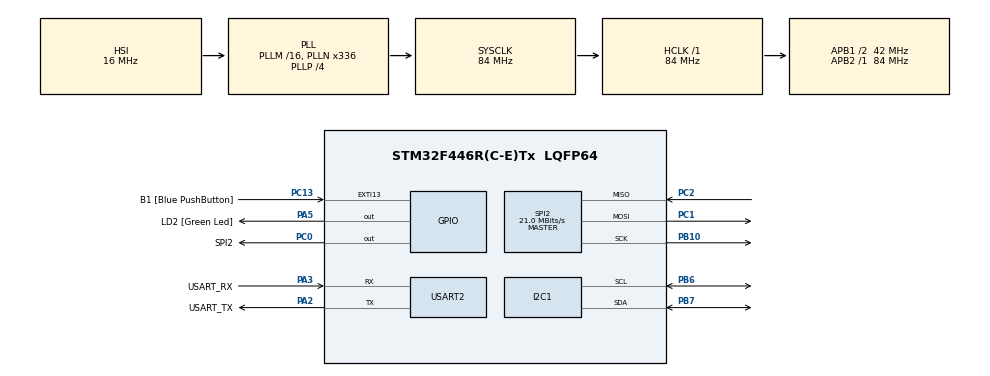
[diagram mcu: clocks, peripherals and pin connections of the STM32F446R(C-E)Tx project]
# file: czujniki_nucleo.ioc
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Mcu.Family=STM32F4
Mcu.Name=STM32F446R(C-E)Tx
Mcu.Package=LQFP64
NVIC.PriorityGroup=NVIC_PRIORITYGROUP_0
PA13.GPIO_Label=TMS
PA13.Mode=Serial_Wire
PA13.Signal=SYS_JTMS-SWDIO
PA14.GPIO_Label=TCK
PA14.Mode=Serial_Wire
PA14.Signal=SYS_JTCK-SWCLK
PA2.GPIO_Label=USART_TX
PA2.Mode=Asynchronous
PA2.Signal=USART2_TX
PA3.GPIO_Label=USART_RX
PA3.Mode=Asynchronous
PA3.Signal=USART2_RX
PA5.GPIO_Label=LD2 [Green Led]
PA5.Signal=GPIO_Output
PB10.Mode=Full_Duplex_Master
PB10.Signal=SPI2_SCK
PB3.GPIO_Label=SWO
PB3.Signal=SYS_JTDO-SWO
PB6.Mode=I2C
PB6.Signal=I2C1_SCL
PB7.Mode=I2C
PB7.Signal=I2C1_SDA
PC0.GPIO_Label=SPI2
PC0.Signal=GPIO_Output
PC1.Mode=Full_Duplex_Master
PC1.Signal=SPI2_MOSI
PC13.GPIO_Label=B1 [Blue PushButton]
PC13.GPIO_ModeDefaultEXTI=GPIO_MODE_IT_FALLING
PC13.Signal=GPXTI13
PC14-OSC32_IN.Mode=LSE-External-Oscillator
PC14-OSC32_IN.Signal=RCC_OSC32_IN
PC15-OSC32_OUT.Mode=LSE-External-Oscillator
PC15-OSC32_OUT.Signal=RCC_OSC32_OUT
PC2.Mode=Full_Duplex_Master
PC2.Signal=SPI2_MISO
PH0-OSC_IN.Mode=HSE-External-Oscillator
PH0-OSC_IN.Signal=RCC_OSC_IN
PH1-OSC_OUT.Mode=HSE-External-Oscillator
PH1-OSC_OUT.Signal=RCC_OSC_OUT
ProjectManager.HeapSize=0x200
ProjectManager.StackSize=0x400
ProjectManager.TargetToolchain=SW4STM32
RCC.48MHZClocksFreq_Value=84000000
RCC.AHBFreq_Value=84000000
RCC.APB1CLKDivider=RCC_HCLK_DIV2
RCC.APB1Freq_Value=42000000
RCC.APB1TimFreq_Value=84000000
RCC.APB2Freq_Value=84000000
RCC.APB2TimFreq_Value=84000000
RCC.CortexFreq_Value=84000000
RCC.FLatency-AdvancedSettings=FLASH_LATENCY_2
RCC.HCLKFreq_Value=84000000
RCC.HSE_VALUE=8000000
RCC.HSI_VALUE=16000000
RCC.PLLN=336
RCC.PLLP=RCC_PLLP_DIV4
RCC.SYSCLKFreq_VALUE=84000000
RCC.SYSCLKSource=RCC_SYSCLKSOURCE_PLLCLK
RCC.USBFreq_Value=168000000
RCC.VCOOutputFreq_Value=336000000
SPI2.CalculateBaudRate=21.0 MBits/s
SPI2.Direction=SPI_DIRECTION_2LINES
SPI2.Mode=SPI_MODE_MASTER
SPI2.VirtualType=VM_MASTER
USART2.VirtualMode=VM_ASYNC
board=NUCLEO-F446RE

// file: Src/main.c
/* USER CODE BEGIN Header */
/**
  ******************************************************************************
  * @file           : main.c
  * @brief          : Main program body
  ******************************************************************************
  ** This notice applies to any and all portions of this file
  * that are not between comment pairs USER CODE BEGIN and
  * USER CODE END. Other portions of this file, whether
  * inserted by the user or by software development tools
  * are owned by their respective copyright owners.
  *
  * COPYRIGHT(c) 2021 STMicroelectronics
  *
  * Redistribution and use in source and binary forms, with or without modification,
  * are permitted provided that the following conditions are met:
  *   1. Redistributions of source code must retain the above copyright notice,
  *      this list of conditions and the following disclaimer.
  *   2. Redistributions in binary form must reproduce the above copyright notice,
  *      this list of conditions and the following disclaimer in the documentation
  *      and/or other materials provided with the distribution.
  *   3. Neither the name of STMicroelectronics nor the names of its contributors
  *      may be used to endorse or promote products derived from this software
  *      without specific prior written permission.
  *
  * THIS SOFTWARE IS PROVIDED BY THE COPYRIGHT HOLDERS AND CONTRIBUTORS "AS IS"
  * AND ANY EXPRESS OR IMPLIED WARRANTIES, INCLUDING, BUT NOT LIMITED TO, THE
  * IMPLIED WARRANTIES OF MERCHANTABILITY AND FITNESS FOR A PARTICULAR PURPOSE ARE
  * DISCLAIMED. IN NO EVENT SHALL THE COPYRIGHT HOLDER OR CONTRIBUTORS BE LIABLE
  * FOR ANY DIRECT, INDIRECT, INCIDENTAL, SPECIAL, EXEMPLARY, OR CONSEQUENTIAL
  * DAMAGES (INCLUDING, BUT NOT LIMITED TO, PROCUREMENT OF SUBSTITUTE GOODS OR
  * SERVICES; LOSS OF USE, DATA, OR PROFITS; OR BUSINESS INTERRUPTION) HOWEVER
  * CAUSED AND ON ANY THEORY OF LIABILITY, WHETHER IN CONTRACT, STRICT LIABILITY,
  * OR TORT (INCLUDING NEGLIGENCE OR OTHERWISE) ARISING IN ANY WAY OUT OF THE USE
  * OF THIS SOFTWARE, EVEN IF ADVISED OF THE POSSIBILITY OF SUCH DAMAGE.
  *
  ******************************************************************************
  */
/* USER CODE END Header */

#include "main.h"

/* USER CODE BEGIN Includes */
#include "bme280.h"
#include "bmp388.h"
#include <math.h>
#include <stdio.h>
#include <stdlib.h>
#include <string.h>
/* USER CODE END Includes */

I2C_HandleTypeDef hi2c1;

SPI_HandleTypeDef hspi2;

UART_HandleTypeDef huart2;

void SystemClock_Config(void);
static void MX_GPIO_Init(void);
static void MX_USART2_UART_Init(void);
static void MX_I2C1_Init(void);
static void MX_SPI2_Init(void);

/* USER CODE BEGIN 0 */
#define BMP388_ADDRESS 0xEC
#define BMP388_CHIP_ID 0x00
#define BMP388_STATUS 0x03
#define BMP388_PRESS_XLSB 0x04
#define BMP388_PRESS_LSB 0x05
#define BMP388_PRESS_MSB 0x06
#define BMP388_TEMP_XLSB 0x07
#define BMP388_TEMP_LSB 0x08
#define BMP388_TEMP_MSB 0x09
#define BMP388_PWR_CTRL 0x1B
#define BMP388_OSR 0x1C

float temperatura;
int temperatura_setki;
float wilgotnosc;
int wilgotnosc_setki;
float cisnienie;
int cisnienie_tysiace;
int cisnienie_dziesiatki;
int cisnienie_przecinek;
float reszta;
float roznica;
float roznica_setki;
float bezposrednio;

void user_delay_ms(uint32_t period_ms);
int8_t user_i2c_write(uint8_t i2c_addr, uint8_t reg_addr, uint8_t *reg_data, uint16_t length);
int8_t user_i2c_read(uint8_t i2c_addr, uint8_t reg_addr, uint8_t *reg_data, uint16_t length);

int8_t user_i2c_read(uint8_t id, uint8_t reg_addr, uint8_t *data, uint16_t len)
{
  if(HAL_I2C_Master_Transmit(&hi2c1, (id << 1), &reg_addr, 1, 10) != HAL_OK) return -1;
  if(HAL_I2C_Master_Receive(&hi2c1, (id << 1) | 0x01, data, len, 10) != HAL_OK) return -1;

  return 0;
}

int8_t user_i2c_write(uint8_t id, uint8_t reg_addr, uint8_t *data, uint16_t len)
{
  int8_t *buf;
  buf = malloc(len +1);
  buf[0] = reg_addr;
  memcpy(buf +1, data, len);

  if(HAL_I2C_Master_Transmit(&hi2c1, (id << 1), (uint8_t*)buf, len + 1, HAL_MAX_DELAY) != HAL_OK) return -1;

  free(buf);
  return 0;
}

void user_delay_ms(uint32_t period)
{
  HAL_Delay(period);
}
/* USER CODE END 0 */

int main(void)
{

  /* MCU Configuration--------------------------------------------------------*/

  /* Reset of all peripherals, Initializes the Flash interface and the Systick. */
  HAL_Init();

  /* Configure the system clock */
  SystemClock_Config();

  /* Initialize all configured peripherals */
  MX_GPIO_Init();
  MX_USART2_UART_Init();
  MX_I2C1_Init();
  MX_SPI2_Init();
  /* USER CODE BEGIN 2 */
  uint8_t configuration[] = "AT+SETPANID ABCD";
  uint8_t wysylanie[20] = "OK";
  struct bme280_dev dev;
  struct bme280_data comp_data;
  struct bmp388_dev dev388;
  struct bmp388_data comp_data388;
  int8_t rslt = BME280_OK;
  int8_t rslt388 = BMP388_OK;

  dev.dev_id = BME280_I2C_ADDR_SEC;
  dev.intf = BME280_I2C_INTF;
  dev.read = user_i2c_read;
  dev.write = user_i2c_write;
  dev.delay_ms = user_delay_ms;

  dev388.dev_id = BMP388_I2C_ADDR_PRIM;
  dev388.intf = BMP388_I2C_INTF;
  dev388.read = user_i2c_read;
  dev388.write = user_i2c_write;
  dev388.delay_ms = user_delay_ms;

  rslt = bme280_init(&dev);
  rslt388 = bmp388_init(&dev388);

  //HAL_UART_Transmit(&huart2, wysylanie, sizeof(wysylanie), 100);

  dev.settings.osr_h = BME280_OVERSAMPLING_1X;
  dev.settings.osr_p = BME280_OVERSAMPLING_16X;
  dev.settings.osr_t = BME280_OVERSAMPLING_2X;
  dev.settings.filter = BME280_FILTER_COEFF_16;
  rslt = bme280_set_sensor_settings(BME280_OSR_PRESS_SEL | BME280_OSR_TEMP_SEL | BME280_OSR_HUM_SEL | BME280_FILTER_SEL, &dev);
  /*
  //dev388.settings.osr_h = BMP388_OVERSAMPLING_1X;
  //dev388.settings.osr_p = BMP388_OVERSAMPLING_16X;
  //dev388.settings.osr_t = BMP388_OVERSAMPLING_2X;
  //dev388.settings.filter = BMP388_FILTER_COEFF_16;
  //rslt388 = bmp388_set_sensor_settings(BMP388_OSR_PRESS_SEL | BMP388_OSR_TEMP_SEL | BMP388_OSR_HUM_SEL | BMP388_FILTER_SEL, &dev388);

*/
  HAL_StatusTypeDef status = 0;
  uint8_t data = 0x13;
  uint8_t result;
  uint32_t data_xlsb;
  uint32_t data_lsb;
  uint32_t data_msb;

  int16_t NVM_PAR_T1 = 0;//27748;
  int16_t NVM_PAR_T2 = 0;//18555;
  int16_t NVM_PAR_T3 = 0;//246;
  int16_t NVM_PAR_P1 = 0;
  uint16_t NVM_PAR_P2 = 0;
  int16_t NVM_PAR_P3 = 0;
  int16_t NVM_PAR_P4 = 0;
  int16_t NVM_PAR_P5 = 0;
  int16_t NVM_PAR_P6 = 0;
  int16_t NVM_PAR_P7 = 0;
  int16_t NVM_PAR_P8 = 0;
  int16_t NVM_PAR_P9 = 0;
  int16_t NVM_PAR_P10 = 0;
  int16_t NVM_PAR_P11 = 0;

  uint8_t T1_reg1 = 0;
  uint8_t T1_reg2 = 0;
  uint8_t T2_reg1 = 0;
  uint8_t T2_reg2 = 0;
  uint8_t T3_reg1 = 0;
  uint8_t P1_reg1 = 0;
  uint8_t P1_reg2 = 0;
  uint8_t P2_reg1 = 0;
  uint8_t P2_reg2 = 0;
  uint8_t P3_reg1 = 0;
  uint8_t P4_reg1 = 0;
  uint8_t P5_reg1 = 0;
  uint8_t P5_reg2 = 0;
  uint8_t P6_reg1 = 0;
  uint8_t P6_reg2 = 0;
  uint8_t P7_reg1 = 0;
  uint8_t P8_reg1 = 0;
  uint8_t P9_reg1 = 0;
  uint8_t P9_reg2 = 0;
  uint8_t P10_reg1 = 0;
  uint8_t P11_reg1 = 0;

  float par_t1 = 0;
  float par_t2 = 0;
  float par_t3 = 0;

  uint8_t temp0 = 0;
  uint8_t temp1 = 0;
  uint8_t temp2 = 0;

  uint8_t press0 = 0;
  uint8_t press1 = 0;
  uint8_t press2 = 0;
  uint32_t temperature = 0;
  uint32_t pressure = 0;
  float wynik = 0;
  float partial_data1 = 0;
  float partial_data2 = 0;
  float partial_data3 = 0;
  float partial_data4 = 0;
  float comp_press = 0;
  float partial_out1 = 0;
  float partial_out2 = 0;
  float temp = 0;
  float pres = 0;

  status = HAL_I2C_Mem_Read(&hi2c1, BMP388_ADDRESS, 0x31, 1, &T1_reg1, 1, 100);
  status = HAL_I2C_Mem_Read(&hi2c1, BMP388_ADDRESS, 0x32, 1, &T1_reg2, 1, 100);
  status = HAL_I2C_Mem_Read(&hi2c1, BMP388_ADDRESS, 0x33, 1, &T2_reg1, 1, 100);
  status = HAL_I2C_Mem_Read(&hi2c1, BMP388_ADDRESS, 0x34, 1, &T2_reg2, 1, 100);
  status = HAL_I2C_Mem_Read(&hi2c1, BMP388_ADDRESS, 0x35, 1, &T3_reg1, 1, 100);

  uint8_t config = 0x2D;
  HAL_I2C_Mem_Write(&hi2c1, BMP388_ADDRESS, BMP388_OSR, 1, &config, 1, 100);

//////////////////////////
  status = HAL_I2C_Mem_Read(&hi2c1, BMP388_ADDRESS, 0x36, 1, &P1_reg1, 1, 100);
  status = HAL_I2C_Mem_Read(&hi2c1, BMP388_ADDRESS, 0x37, 1, &P1_reg2, 1, 100);
  status = HAL_I2C_Mem_Read(&hi2c1, BMP388_ADDRESS, 0x38, 1, &P2_reg1, 1, 100);
  status = HAL_I2C_Mem_Read(&hi2c1, BMP388_ADDRESS, 0x39, 1, &P2_reg2, 1, 100);
  status = HAL_I2C_Mem_Read(&hi2c1, BMP388_ADDRESS, 0x3A, 1, &P3_reg1, 1, 100);
  status = HAL_I2C_Mem_Read(&hi2c1, BMP388_ADDRESS, 0x3B, 1, &P4_reg1, 1, 100);
  status = HAL_I2C_Mem_Read(&hi2c1, BMP388_ADDRESS, 0x3C, 1, &P5_reg1, 1, 100);
  status = HAL_I2C_Mem_Read(&hi2c1, BMP388_ADDRESS, 0x3D, 1, &P5_reg2, 1, 100);
  status = HAL_I2C_Mem_Read(&hi2c1, BMP388_ADDRESS, 0x3E, 1, &P6_reg1, 1, 100);
  status = HAL_I2C_Mem_Read(&hi2c1, BMP388_ADDRESS, 0x3F, 1, &P6_reg2, 1, 100);
  status = HAL_I2C_Mem_Read(&hi2c1, BMP388_ADDRESS, 0x40, 1, &P7_reg1, 1, 100);
  status = HAL_I2C_Mem_Read(&hi2c1, BMP388_ADDRESS, 0x41, 1, &P8_reg1, 1, 100);
  status = HAL_I2C_Mem_Read(&hi2c1, BMP388_ADDRESS, 0x42, 1, &P9_reg1, 1, 100);
  status = HAL_I2C_Mem_Read(&hi2c1, BMP388_ADDRESS, 0x43, 1, &P9_reg2, 1, 100);
  status = HAL_I2C_Mem_Read(&hi2c1, BMP388_ADDRESS, 0x44, 1, &P10_reg1, 1, 100);
  status = HAL_I2C_Mem_Read(&hi2c1, BMP388_ADDRESS, 0x45, 1, &P11_reg1, 1, 100);
  //HAL_UART_Transmit(&huart2, &P2_reg2, sizeof(P2_reg2), 100);
/////////////////////
  NVM_PAR_T1 = (((uint16_t)T1_reg2 << 8) | (uint16_t)T1_reg1);
  NVM_PAR_T2 = (((uint16_t)T2_reg2 << 8) | (uint16_t)T2_reg1);
  NVM_PAR_T3 = (uint16_t)T3_reg1;

  NVM_PAR_P1 = (((uint16_t)P1_reg2 << 8) | (uint16_t)P1_reg1);
  NVM_PAR_P2 = (((uint16_t)P2_reg2 << 8) | (uint16_t)P2_reg1);
  NVM_PAR_P3 = ((uint16_t)P3_reg1);
  NVM_PAR_P4 = ((uint16_t)P4_reg1);
  NVM_PAR_P5 = (((uint16_t)P5_reg2 << 8) | (uint16_t)P5_reg1);
  NVM_PAR_P6 = (((uint16_t)P6_reg2 << 8) | (uint16_t)P6_reg1);
  NVM_PAR_P7 = ((uint16_t)P7_reg1);
  NVM_PAR_P8 = ((uint16_t)P8_reg1);
  NVM_PAR_P9 = (((uint16_t)P9_reg2 << 8) | (uint16_t)P9_reg1);
  NVM_PAR_P10 = ((uint16_t)P10_reg1);
  NVM_PAR_P11 = ((uint16_t)P11_reg1);

  par_t1 = (float)NVM_PAR_T1*pow(2,8);//7103488
  par_t2 = (float)NVM_PAR_T2/pow(2,30);
  par_t3 = (float)NVM_PAR_T3/pow(2,48);

  //sprintf(wysylanie, "%u ", NVM_PAR_P2);
  //HAL_UART_Transmit(&huart2, &wysylanie, sizeof(wysylanie), 100);

  float par_p1 = ((float)NVM_PAR_P1-pow(2,14))/pow(2,20);
  float par_p2 = ((float)NVM_PAR_P2-pow(2,14))/pow(2,29);
  float par_p3 = (float)NVM_PAR_P3/pow(2,32);
  float par_p4 = (float)NVM_PAR_P4/pow(2,37);
  float par_p5 = (float)NVM_PAR_P5*pow(2,3);
  float par_p6 = (float)NVM_PAR_P6/pow(2,6);
  float par_p7 = (float)NVM_PAR_P7/pow(2,8);
  float par_p8 = (float)NVM_PAR_P8/pow(2,15);
  float par_p9 = (float)NVM_PAR_P9/pow(2,48);
  float par_p10 = (float)NVM_PAR_P10/pow(2,48);
  float par_p11 = (float)NVM_PAR_P11/pow(2,65);

  uint8_t odbior = 0, ustawienia = 0x06;

  HAL_I2C_Master_Transmit(&hi2c1, 0x70, &ustawienia, 1, 100);

  HAL_I2C_Mem_Write(&hi2c1, 0x70, 0x70, 1, &ustawienia, 1, 100);
  HAL_I2C_Mem_Read(&hi2c1, 0x70, 0x70, 1, &odbior, 1, 100);
  HAL_UART_Transmit(&huart2, &odbior, sizeof(odbior), 100);
  /* USER CODE END 2 */

  /* Infinite loop */
  while (1)
  {

    /* USER CODE BEGIN 3 */

	  HAL_Delay(1000);
	  HAL_I2C_Master_Receive(&hi2c1, 0x71, &odbior, 1, 100);
	  //HAL_UART_Transmit(&huart2, &odbior, sizeof(odbior), 100);

	  HAL_I2C_Master_Receive(&hi2c1, 0x73, &odbior, 1, 100);
	  //HAL_UART_Transmit(&huart2, &odbior, sizeof(odbior), 100);

	  //status = HAL_I2C_Mem_Read(&hi2c1, BMP388_ADDRESS, BMP388_CHIP_ID, 1, &result, 1, 100);
	  //HAL_UART_Transmit(&huart2, &result, sizeof(result), 100);

	  //status = HAL_I2C_Mem_Read(&hi2c1, BMP388_ADDRESS, BMP388_STATUS, 1, &result, 1, 100);
	  //HAL_UART_Transmit(&huart2, &result, sizeof(result), 100);

	  //status = HAL_I2C_Mem_Read(&hi2c1, BMP388_ADDRESS, BMP388_PWR_CTRL, 1, &result, 1, 100);
	  //HAL_UART_Transmit(&huart2, &result, sizeof(result), 100);

	  HAL_I2C_Mem_Write(&hi2c1, BMP388_ADDRESS, BMP388_PWR_CTRL, 1, &data, 1, 100);

	  status = HAL_I2C_Mem_Read(&hi2c1, BMP388_ADDRESS, BMP388_TEMP_XLSB, 1, &temp0, 1, 100);
	  //HAL_UART_Transmit(&huart2, &temp0, sizeof(temp0), 100);

	  status = HAL_I2C_Mem_Read(&hi2c1, BMP388_ADDRESS, BMP388_TEMP_LSB, 1, &temp1, 1, 100);
	  //HAL_UART_Transmit(&huart2, &temp1, sizeof(temp1), 100);

	  status = HAL_I2C_Mem_Read(&hi2c1, BMP388_ADDRESS, BMP388_TEMP_MSB, 1, &temp2, 1, 100);
	  //HAL_UART_Transmit(&huart2, &temp2, sizeof(temp2), 100);

	  data_msb = (uint32_t)temp2 << 16;
	  data_lsb = (uint32_t)temp1 << 8;
	  data_xlsb = (uint32_t)temp0;
	  temperature = data_msb | data_lsb | data_xlsb;

      temp = (float)temperature;

	  partial_data1 = (float)(temp - par_t1);
	  partial_data2 = (float)(partial_data1 * par_t2);

	  wynik = partial_data2 +(partial_data1*partial_data1) * par_t3;

	  sprintf(wysylanie, "temp%0.2f ", wynik);
	  HAL_UART_Transmit(&huart2, &wysylanie, sizeof(wysylanie), 100);

	  status = HAL_I2C_Mem_Read(&hi2c1, BMP388_ADDRESS, BMP388_PRESS_XLSB, 1, &press0, 1, 100);
	  //HAL_UART_Transmit(&huart2, &press0, sizeof(press0), 100);

	  status = HAL_I2C_Mem_Read(&hi2c1, BMP388_ADDRESS, BMP388_PRESS_LSB, 1, &press1, 1, 100);
	  //HAL_UART_Transmit(&huart2, &press1, sizeof(press1), 100);

	  status = HAL_I2C_Mem_Read(&hi2c1, BMP388_ADDRESS, BMP388_PRESS_MSB, 1, &press2, 1, 100);
	  //HAL_UART_Transmit(&huart2, &press2, sizeof(press2), 100);

	  data_msb = (uint32_t)press2 << 16;
	  data_lsb = (uint32_t)press1 << 8;
	  data_xlsb = (uint32_t)press0;
	  pressure = data_msb | data_lsb | data_xlsb;//ok

	  pres = (float)pressure;//ok policzone dla cisnienia 1000 i temp 25

	  partial_data1 = par_p6*wynik;//ok 11833,59375
	  partial_data2 = par_p7*(wynik*wynik);//ok 593,261719
	  partial_data3 = par_p8*(wynik*wynik*wynik);//ok 117,301941
	  partial_out1 = par_p5 + partial_data1 + partial_data2 + partial_data3;//ok 210312,15625

	  partial_data1 = par_p2*wynik;//ok 0,002192
	  partial_data2 = par_p3*(wynik*wynik);//ok 0,00000509317
	  partial_data3 = par_p4*(wynik*wynik*wynik);//ok 0
	  partial_out2 = pres *(par_p1 +  partial_data1 + partial_data2 + partial_data3);//ok -12,75555896759

	  partial_data1 = pres * pres;// 1000000
	  partial_data2 = par_p9 + par_p10 * wynik;//ok 6,05*10^(-11)
	  partial_data3 = partial_data1 * partial_data2;//ok 0,000060584425
	  partial_data4 = partial_data3 + (pres *pres*pres)*par_p11;//ok 0,000060589737
	  comp_press = (partial_out1+partial_out2+partial_data4);

	  sprintf(wysylanie, "cisn%0.2f ", comp_press);
	  HAL_UART_Transmit(&huart2, &wysylanie, sizeof(wysylanie), 100);

	  HAL_Delay(1000);

	  rslt = bme280_set_sensor_mode(BME280_FORCED_MODE, &dev);
	  dev.delay_ms(20);
	  //sprintf(configuration, "%d \n", rslt);
	  //HAL_UART_Transmit(&huart2, configuration, sizeof(configuration), 100);
	  rslt = bme280_get_sensor_data(BME280_ALL, &comp_data, &dev);
	  if(rslt == BME280_OK)
	  {
	      	temperatura = comp_data.temperature / 100.0;       //°C
	      	wilgotnosc = comp_data.humidity / 1024.0;            //%
	      	cisnienie = comp_data.pressure / 10000.0;           //hPa
	      	//temperatura_setki = (temperatura - (int)(comp_data.temperature/100)) * 100;
	      	//wilgotnosc_setki = (wilgotnosc - (int)(comp_data.humidity/1024))*100;
	      	//cisnienie_tysiace = (int)cisnienie / 100;
	      	//cisnienie_dziesiatki = (int)(((cisnienie / 100.0) - (int)(cisnienie / 100.0))*100);
	      	//cisnienie_przecinek = (cisnienie - (int)cisnienie) * 100;

	      	//sprintf(wysylanie, "HUMID: %0.2f ", wilgotnosc);
	      	//HAL_UART_Transmit(&huart2, wysylanie, sizeof(wysylanie), 100);

	      	sprintf(wysylanie, "TEMP: %0.2f ", temperatura);
	      	HAL_UART_Transmit(&huart2, wysylanie, sizeof(wysylanie), 100);

	      	sprintf(wysylanie, "PRES: %0.2f ", cisnienie);
	      	HAL_UART_Transmit(&huart2, wysylanie, sizeof(wysylanie), 100);
	   }
	  /*
	  HAL_Delay(1000);
	  rslt388 = bmp388_set_sensor_mode(BMP388_FORCED_MODE, &dev388);
	  dev388.delay_ms(20);

	  rslt388 = bmp388_get_sensor_data(BMP388_ALL, &comp_data388, &dev388);
	  if(rslt388 == BMP388_OK)
	  {
	  	   temperatura = comp_data388.temperature / 100.0;       //°C
	  	   wilgotnosc = comp_data388.humidity / 1024.0;            //%
	  	   cisnienie = comp_data388.pressure / 10000.0;           //hPa
	  	   //temperatura_setki = (temperatura - (int)(comp_data388.temperature/100)) * 100;
	  	   //wilgotnosc_setki = (wilgotnosc - (int)(comp_data388.humidity/1024))*100;
	  	   //cisnienie_tysiace = (int)cisnienie / 100;
	  	   //cisnienie_dziesiatki = (int)(((cisnienie / 100.0) - (int)(cisnienie / 100.0))*100);
	  	   //cisnienie_przecinek = (cisnienie - (int)cisnienie) * 100;

	  	   sprintf(wysylanie, "HUMID: %0.2f ", wilgotnosc);
	  	   HAL_UART_Transmit(&huart2, wysylanie, sizeof(wysylanie), 100);

	  	   sprintf(wysylanie, "TEMP: %0.2f ", temperatura);
	  	   HAL_UART_Transmit(&huart2, wysylanie, sizeof(wysylanie), 100);

	  	   sprintf(wysylanie, "PRES: %0.2f \n", cisnienie);
	  	   HAL_UART_Transmit(&huart2, wysylanie, sizeof(wysylanie), 100);
	  }
	   */
  }
  /* USER CODE END 3 */
}

void SystemClock_Config(void)
{
  RCC_OscInitTypeDef RCC_OscInitStruct = {0};
  RCC_ClkInitTypeDef RCC_ClkInitStruct = {0};

  /**Configure the main internal regulator output voltage
  */
  __HAL_RCC_PWR_CLK_ENABLE();
  __HAL_PWR_VOLTAGESCALING_CONFIG(PWR_REGULATOR_VOLTAGE_SCALE3);
  /**Initializes the CPU, AHB and APB busses clocks
  */
  RCC_OscInitStruct.OscillatorType = RCC_OSCILLATORTYPE_HSI;
  RCC_OscInitStruct.HSIState = RCC_HSI_ON;
  RCC_OscInitStruct.HSICalibrationValue = RCC_HSICALIBRATION_DEFAULT;
  RCC_OscInitStruct.PLL.PLLState = RCC_PLL_ON;
  RCC_OscInitStruct.PLL.PLLSource = RCC_PLLSOURCE_HSI;
  RCC_OscInitStruct.PLL.PLLM = 16;
  RCC_OscInitStruct.PLL.PLLN = 336;
  RCC_OscInitStruct.PLL.PLLP = RCC_PLLP_DIV4;
  RCC_OscInitStruct.PLL.PLLQ = 2;
  RCC_OscInitStruct.PLL.PLLR = 2;
  if (HAL_RCC_OscConfig(&RCC_OscInitStruct) != HAL_OK)
  {
    Error_Handler();
  }
  /**Initializes the CPU, AHB and APB busses clocks
  */
  RCC_ClkInitStruct.ClockType = RCC_CLOCKTYPE_HCLK|RCC_CLOCKTYPE_SYSCLK
                              |RCC_CLOCKTYPE_PCLK1|RCC_CLOCKTYPE_PCLK2;
  RCC_ClkInitStruct.SYSCLKSource = RCC_SYSCLKSOURCE_PLLCLK;
  RCC_ClkInitStruct.AHBCLKDivider = RCC_SYSCLK_DIV1;
  RCC_ClkInitStruct.APB1CLKDivider = RCC_HCLK_DIV2;
  RCC_ClkInitStruct.APB2CLKDivider = RCC_HCLK_DIV1;

  if (HAL_RCC_ClockConfig(&RCC_ClkInitStruct, FLASH_LATENCY_2) != HAL_OK)
  {
    Error_Handler();
  }
}

static void MX_I2C1_Init(void)
{

  hi2c1.Instance = I2C1;
  hi2c1.Init.ClockSpeed = 100000;
  hi2c1.Init.DutyCycle = I2C_DUTYCYCLE_2;
  hi2c1.Init.OwnAddress1 = 0;
  hi2c1.Init.AddressingMode = I2C_ADDRESSINGMODE_7BIT;
  hi2c1.Init.DualAddressMode = I2C_DUALADDRESS_DISABLE;
  hi2c1.Init.OwnAddress2 = 0;
  hi2c1.Init.GeneralCallMode = I2C_GENERALCALL_DISABLE;
  hi2c1.Init.NoStretchMode = I2C_NOSTRETCH_DISABLE;
  if (HAL_I2C_Init(&hi2c1) != HAL_OK)
  {
    Error_Handler();
  }

}

static void MX_SPI2_Init(void)
{

  /* SPI2 parameter configuration*/
  hspi2.Instance = SPI2;
  hspi2.Init.Mode = SPI_MODE_MASTER;
  hspi2.Init.Direction = SPI_DIRECTION_2LINES;
  hspi2.Init.DataSize = SPI_DATASIZE_8BIT;
  hspi2.Init.CLKPolarity = SPI_POLARITY_LOW;
  hspi2.Init.CLKPhase = SPI_PHASE_1EDGE;
  hspi2.Init.NSS = SPI_NSS_SOFT;
  hspi2.Init.BaudRatePrescaler = SPI_BAUDRATEPRESCALER_2;
  hspi2.Init.FirstBit = SPI_FIRSTBIT_MSB;
  hspi2.Init.TIMode = SPI_TIMODE_DISABLE;
  hspi2.Init.CRCCalculation = SPI_CRCCALCULATION_DISABLE;
  hspi2.Init.CRCPolynomial = 10;
  if (HAL_SPI_Init(&hspi2) != HAL_OK)
  {
    Error_Handler();
  }

}

static void MX_USART2_UART_Init(void)
{

  huart2.Instance = USART2;
  huart2.Init.BaudRate = 115200;
  huart2.Init.WordLength = UART_WORDLENGTH_8B;
  huart2.Init.StopBits = UART_STOPBITS_1;
  huart2.Init.Parity = UART_PARITY_NONE;
  huart2.Init.Mode = UART_MODE_TX_RX;
  huart2.Init.HwFlowCtl = UART_HWCONTROL_NONE;
  huart2.Init.OverSampling = UART_OVERSAMPLING_16;
  if (HAL_UART_Init(&huart2) != HAL_OK)
  {
    Error_Handler();
  }

}

static void MX_GPIO_Init(void)
{
  GPIO_InitTypeDef GPIO_InitStruct = {0};

  /* GPIO Ports Clock Enable */
  __HAL_RCC_GPIOC_CLK_ENABLE();
  __HAL_RCC_GPIOH_CLK_ENABLE();
  __HAL_RCC_GPIOA_CLK_ENABLE();
  __HAL_RCC_GPIOB_CLK_ENABLE();

  /*Configure GPIO pin Output Level */
  HAL_GPIO_WritePin(SPI2_GPIO_Port, SPI2_Pin, GPIO_PIN_RESET);

  /*Configure GPIO pin Output Level */
  HAL_GPIO_WritePin(LD2_GPIO_Port, LD2_Pin, GPIO_PIN_RESET);

  /*Configure GPIO pin : B1_Pin */
  GPIO_InitStruct.Pin = B1_Pin;
  GPIO_InitStruct.Mode = GPIO_MODE_IT_FALLING;
  GPIO_InitStruct.Pull = GPIO_NOPULL;
  HAL_GPIO_Init(B1_GPIO_Port, &GPIO_InitStruct);

  /*Configure GPIO pin : SPI2_Pin */
  GPIO_InitStruct.Pin = SPI2_Pin;
  GPIO_InitStruct.Mode = GPIO_MODE_OUTPUT_PP;
  GPIO_InitStruct.Pull = GPIO_NOPULL;
  GPIO_InitStruct.Speed = GPIO_SPEED_FREQ_LOW;
  HAL_GPIO_Init(SPI2_GPIO_Port, &GPIO_InitStruct);

  /*Configure GPIO pin : LD2_Pin */
  GPIO_InitStruct.Pin = LD2_Pin;
  GPIO_InitStruct.Mode = GPIO_MODE_OUTPUT_PP;
  GPIO_InitStruct.Pull = GPIO_NOPULL;
  GPIO_InitStruct.Speed = GPIO_SPEED_FREQ_LOW;
  HAL_GPIO_Init(LD2_GPIO_Port, &GPIO_InitStruct);

}

void Error_Handler(void)
{
}

/************************ (C) COPYRIGHT STMicroelectronics *****END OF FILE****/
